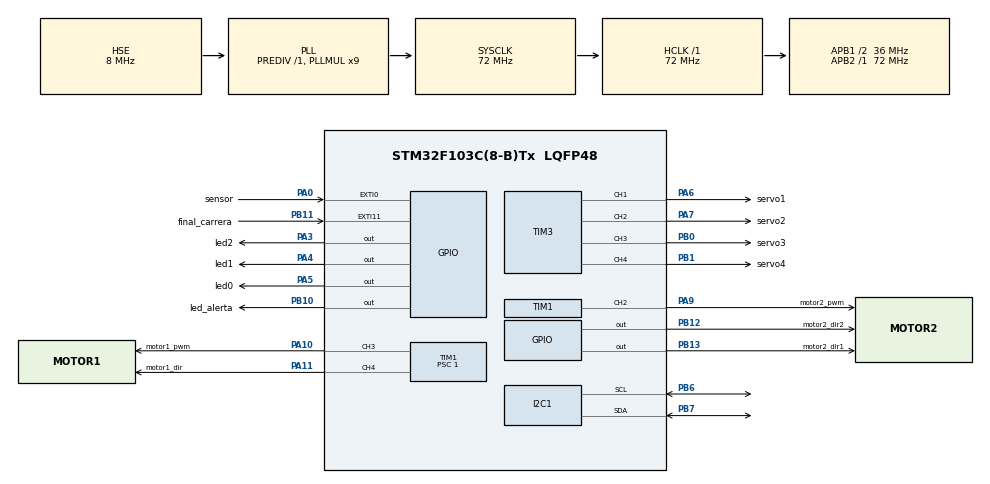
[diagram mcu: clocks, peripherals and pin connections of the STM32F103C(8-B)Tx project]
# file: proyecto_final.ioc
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Mcu.Family=STM32F1
Mcu.Name=STM32F103C(8-B)Tx
Mcu.Package=LQFP48
NVIC.EXTI0_IRQn=true\:0\:0\:true\:false\:true\:true\:true\:true
NVIC.EXTI15_10_IRQn=true\:0\:0\:false\:false\:true\:true\:true\:true
NVIC.PriorityGroup=NVIC_PRIORITYGROUP_4
NVIC.TIM2_IRQn=true\:0\:0\:false\:false\:true\:true\:true\:true
PA0-WKUP.GPIO_Label=sensor
PA0-WKUP.GPIO_ModeDefaultEXTI=GPIO_MODE_IT_RISING
PA0-WKUP.GPIO_PuPd=GPIO_PULLDOWN
PA0-WKUP.Signal=GPXTI0
PA10.GPIO_Label=motor1_pwm
PA10.Signal=S_TIM1_CH3
PA11.GPIO_Label=motor1_dir
PA11.Signal=S_TIM1_CH4
PA13.Mode=Serial_Wire
PA13.Signal=SYS_JTMS-SWDIO
PA14.Mode=Serial_Wire
PA14.Signal=SYS_JTCK-SWCLK
PA3.GPIO_Label=led2
PA3.Signal=GPIO_Output
PA4.GPIO_Label=led1
PA4.Signal=GPIO_Output
PA5.GPIO_Label=led0
PA5.Signal=GPIO_Output
PA6.GPIO_Label=servo1
PA6.Signal=S_TIM3_CH1
PA7.GPIO_Label=servo2
PA7.Signal=S_TIM3_CH2
PA9.GPIO_Label=motor2_pwm
PA9.Signal=S_TIM1_CH2
PB0.GPIO_Label=servo3
PB0.Signal=S_TIM3_CH3
PB1.GPIO_Label=servo4
PB1.Signal=S_TIM3_CH4
PB10.GPIO_Label=led_alerta
PB10.Signal=GPIO_Output
PB11.GPIO_Label=final_carrera
PB11.GPIO_ModeDefaultEXTI=GPIO_MODE_IT_RISING
PB11.GPIO_PuPd=GPIO_PULLDOWN
PB11.Signal=GPXTI11
PB12.GPIO_Label=motor2_dir2
PB12.Signal=GPIO_Output
PB13.GPIO_Label=motor2_dir1
PB13.Signal=GPIO_Output
PB6.Mode=I2C
PB6.Signal=I2C1_SCL
PB7.Mode=I2C
PB7.Signal=I2C1_SDA
PD0-OSC_IN.Mode=HSE-External-Oscillator
PD0-OSC_IN.Signal=RCC_OSC_IN
PD1-OSC_OUT.Mode=HSE-External-Oscillator
PD1-OSC_OUT.Signal=RCC_OSC_OUT
ProjectManager.HeapSize=0x200
ProjectManager.StackSize=0x400
ProjectManager.TargetToolchain=STM32CubeIDE
RCC.AHBFreq_Value=72000000
RCC.APB1CLKDivider=RCC_HCLK_DIV2
RCC.APB1Freq_Value=36000000
RCC.APB1TimFreq_Value=72000000
RCC.APB2Freq_Value=72000000
RCC.APB2TimFreq_Value=72000000
RCC.HCLKFreq_Value=72000000
RCC.PLLMUL=RCC_PLL_MUL9
RCC.PLLSourceVirtual=RCC_PLLSOURCE_HSE
RCC.SYSCLKFreq_VALUE=72000000
RCC.SYSCLKSource=RCC_SYSCLKSOURCE_PLLCLK
RCC.USBFreq_Value=72000000
SH.S_TIM1_CH2.0=TIM1_CH2,PWM Generation2 CH2
SH.S_TIM1_CH3.0=TIM1_CH3,PWM Generation3 CH3
SH.S_TIM1_CH4.0=TIM1_CH4,Output Compare4 CH4
SH.S_TIM3_CH1.0=TIM3_CH1,PWM Generation1 CH1
SH.S_TIM3_CH2.0=TIM3_CH2,PWM Generation2 CH2
SH.S_TIM3_CH3.0=TIM3_CH3,PWM Generation3 CH3
SH.S_TIM3_CH4.0=TIM3_CH4,PWM Generation4 CH4
TIM1.Channel-Output\ Compare4\ CH4=TIM_CHANNEL_4
TIM1.Channel-PWM\ Generation2\ CH2=TIM_CHANNEL_2
TIM1.Channel-PWM\ Generation3\ CH3=TIM_CHANNEL_3
TIM1.OCMode_4=TIM_OCMODE_FORCED_ACTIVE
TIM1.Period=4800
TIM1.Prescaler=1
TIM2.AutoReloadPreload=TIM_AUTORELOAD_PRELOAD_DISABLE
TIM2.Period=21600
TIM2.Prescaler=10000
TIM2.TIM_MasterOutputTrigger=TIM_TRGO_UPDATE
TIM3.Channel-PWM\ Generation1\ CH1=TIM_CHANNEL_1
TIM3.Channel-PWM\ Generation2\ CH2=TIM_CHANNEL_2
TIM3.Channel-PWM\ Generation3\ CH3=TIM_CHANNEL_3
TIM3.Channel-PWM\ Generation4\ CH4=TIM_CHANNEL_4
VP_TIM1_VS_ClockSourceINT.Mode=Internal
VP_TIM2_VS_ClockSourceINT.Mode=Internal
VP_TIM2_VS_OPM.Mode=OPM_bit
VP_TIM3_VS_ClockSourceINT.Mode=Internal
board=custom

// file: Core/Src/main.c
/* USER CODE BEGIN Header */
/**
 ******************************************************************************
 * @file           : main.c
 * @brief          : Main program body
 ******************************************************************************
 * @attention
 *
 * Copyright (c) 2023 STMicroelectronics.
 * All rights reserved.
 *
 * This software is licensed under terms that can be found in the LICENSE file
 * in the root directory of this software component.
 * If no LICENSE file comes with this software, it is provided AS-IS.
 *
 ******************************************************************************
 */
/* USER CODE END Header */
#include "main.h"

/* USER CODE BEGIN Includes */
#include "stdio.h"
#include "stdbool.h"
/* USER CODE END Includes */

I2C_HandleTypeDef hi2c1;

TIM_HandleTypeDef htim1;
TIM_HandleTypeDef htim2;
TIM_HandleTypeDef htim3;

void SystemClock_Config(void);
static void MX_GPIO_Init(void);
static void MX_TIM1_Init(void);
static void MX_TIM2_Init(void);
static void MX_TIM3_Init(void);
static void MX_I2C1_Init(void);

/* USER CODE BEGIN 0 */
int cant_cajas;

bool flag;

// Para dar un orden en las acciones, se declara un dato enum segun las etapas del proceso
// -> pendiente: sensor pendiente de una caja
// -> tempo: se esta llevando a cabo el proceso (actuando el temporizador)
// -> fin: el brazo robotico esta en posicion de homing

enum proceso {
	pendiente, tempo, fin
} estado;

const int vel_max = 4800;
const int vel_nominal = 4320;
const int vel_proceso = 3120;

/* USER CODE END 0 */

int main(void) {

	/* MCU Configuration--------------------------------------------------------*/

	/* Reset of all peripherals, Initializes the Flash interface and the Systick. */
	HAL_Init();

	/* Configure the system clock */
	SystemClock_Config();

	/* Initialize all configured peripherals */
	MX_GPIO_Init();
	MX_TIM1_Init();
	MX_TIM2_Init();
	MX_TIM3_Init();
	MX_I2C1_Init();
	/* USER CODE BEGIN 2 */
	// ======================== TIMER 1 ========================
	// Control del motor1 (iniciamos el timer pwm y damos salida a dir1)
	HAL_TIM_PWM_Start(&htim1, TIM_CHANNEL_3);
	HAL_TIM_OC_Start(&htim1, TIM_CHANNEL_4);

	// Velocidad inicial de motor1 (DC 90%) --> 100% = 4800
	TIM1->CCR3 = vel_nominal;

	// ======================== TIMER 2 ========================
	// Bajo el bit UIF del registro SR (status register), se setea por hardware e inicialmente esta en 1
	// lo que me levanta de primera el callback del period elapsed
	TIM2->SR &= ~TIM_SR_UIF_Msk;

	// // ===================== VARIABLES =======================
	cant_cajas = 0;
	flag = true;
	estado = pendiente;
	/* USER CODE END 2 */

	/* Infinite loop */
	/* USER CODE BEGIN WHILE */
	while (1) {
		if (cant_cajas == 0) {
			HAL_GPIO_WritePin(GPIOA, led1_Pin | led2_Pin, 0);
			HAL_GPIO_WritePin(GPIOA, led0_Pin, 1);
		} else if (cant_cajas == 1) {
			HAL_GPIO_WritePin(GPIOA, led0_Pin | led2_Pin, 0);
			HAL_GPIO_WritePin(GPIOA, led1_Pin, 1);
		} else if (cant_cajas == 2) {
			HAL_GPIO_WritePin(GPIOA, led0_Pin | led1_Pin, 0);
			HAL_GPIO_WritePin(GPIOA, led2_Pin, 1);
		}
		/* USER CODE END WHILE */

	}
}

void SystemClock_Config(void) {
	RCC_OscInitTypeDef RCC_OscInitStruct = { 0 };
	RCC_ClkInitTypeDef RCC_ClkInitStruct = { 0 };

	/** Initializes the RCC Oscillators according to the specified parameters
	 * in the RCC_OscInitTypeDef structure.
	 */
	RCC_OscInitStruct.OscillatorType = RCC_OSCILLATORTYPE_HSE;
	RCC_OscInitStruct.HSEState = RCC_HSE_ON;
	RCC_OscInitStruct.HSEPredivValue = RCC_HSE_PREDIV_DIV1;
	RCC_OscInitStruct.HSIState = RCC_HSI_ON;
	RCC_OscInitStruct.PLL.PLLState = RCC_PLL_ON;
	RCC_OscInitStruct.PLL.PLLSource = RCC_PLLSOURCE_HSE;
	RCC_OscInitStruct.PLL.PLLMUL = RCC_PLL_MUL9;
	if (HAL_RCC_OscConfig(&RCC_OscInitStruct) != HAL_OK) {
		Error_Handler();
	}

	/** Initializes the CPU, AHB and APB buses clocks
	 */
	RCC_ClkInitStruct.ClockType = RCC_CLOCKTYPE_HCLK | RCC_CLOCKTYPE_SYSCLK
			| RCC_CLOCKTYPE_PCLK1 | RCC_CLOCKTYPE_PCLK2;
	RCC_ClkInitStruct.SYSCLKSource = RCC_SYSCLKSOURCE_PLLCLK;
	RCC_ClkInitStruct.AHBCLKDivider = RCC_SYSCLK_DIV1;
	RCC_ClkInitStruct.APB1CLKDivider = RCC_HCLK_DIV2;
	RCC_ClkInitStruct.APB2CLKDivider = RCC_HCLK_DIV1;

	if (HAL_RCC_ClockConfig(&RCC_ClkInitStruct, FLASH_LATENCY_2) != HAL_OK) {
		Error_Handler();
	}
}

static void MX_I2C1_Init(void) {

	hi2c1.Instance = I2C1;
	hi2c1.Init.ClockSpeed = 100000;
	hi2c1.Init.DutyCycle = I2C_DUTYCYCLE_2;
	hi2c1.Init.OwnAddress1 = 0;
	hi2c1.Init.AddressingMode = I2C_ADDRESSINGMODE_7BIT;
	hi2c1.Init.DualAddressMode = I2C_DUALADDRESS_DISABLE;
	hi2c1.Init.OwnAddress2 = 0;
	hi2c1.Init.GeneralCallMode = I2C_GENERALCALL_DISABLE;
	hi2c1.Init.NoStretchMode = I2C_NOSTRETCH_DISABLE;
	if (HAL_I2C_Init(&hi2c1) != HAL_OK) {
		Error_Handler();
	}

}

static void MX_TIM1_Init(void) {

	TIM_ClockConfigTypeDef sClockSourceConfig = { 0 };
	TIM_MasterConfigTypeDef sMasterConfig = { 0 };
	TIM_OC_InitTypeDef sConfigOC = { 0 };
	TIM_BreakDeadTimeConfigTypeDef sBreakDeadTimeConfig = { 0 };

	htim1.Instance = TIM1;
	htim1.Init.Prescaler = 1;
	htim1.Init.CounterMode = TIM_COUNTERMODE_UP;
	htim1.Init.Period = 4800;
	htim1.Init.ClockDivision = TIM_CLOCKDIVISION_DIV1;
	htim1.Init.RepetitionCounter = 0;
	htim1.Init.AutoReloadPreload = TIM_AUTORELOAD_PRELOAD_DISABLE;
	if (HAL_TIM_Base_Init(&htim1) != HAL_OK) {
		Error_Handler();
	}
	sClockSourceConfig.ClockSource = TIM_CLOCKSOURCE_INTERNAL;
	if (HAL_TIM_ConfigClockSource(&htim1, &sClockSourceConfig) != HAL_OK) {
		Error_Handler();
	}
	if (HAL_TIM_PWM_Init(&htim1) != HAL_OK) {
		Error_Handler();
	}
	if (HAL_TIM_OC_Init(&htim1) != HAL_OK) {
		Error_Handler();
	}
	sMasterConfig.MasterOutputTrigger = TIM_TRGO_RESET;
	sMasterConfig.MasterSlaveMode = TIM_MASTERSLAVEMODE_DISABLE;
	if (HAL_TIMEx_MasterConfigSynchronization(&htim1, &sMasterConfig)
			!= HAL_OK) {
		Error_Handler();
	}
	sConfigOC.OCMode = TIM_OCMODE_PWM1;
	sConfigOC.Pulse = 0;
	sConfigOC.OCPolarity = TIM_OCPOLARITY_HIGH;
	sConfigOC.OCNPolarity = TIM_OCNPOLARITY_HIGH;
	sConfigOC.OCFastMode = TIM_OCFAST_DISABLE;
	sConfigOC.OCIdleState = TIM_OCIDLESTATE_RESET;
	sConfigOC.OCNIdleState = TIM_OCNIDLESTATE_RESET;
	if (HAL_TIM_PWM_ConfigChannel(&htim1, &sConfigOC, TIM_CHANNEL_2)
			!= HAL_OK) {
		Error_Handler();
	}
	if (HAL_TIM_PWM_ConfigChannel(&htim1, &sConfigOC, TIM_CHANNEL_3)
			!= HAL_OK) {
		Error_Handler();
	}
	sConfigOC.OCMode = TIM_OCMODE_FORCED_ACTIVE;
	if (HAL_TIM_OC_ConfigChannel(&htim1, &sConfigOC, TIM_CHANNEL_4) != HAL_OK) {
		Error_Handler();
	}
	sBreakDeadTimeConfig.OffStateRunMode = TIM_OSSR_DISABLE;
	sBreakDeadTimeConfig.OffStateIDLEMode = TIM_OSSI_DISABLE;
	sBreakDeadTimeConfig.LockLevel = TIM_LOCKLEVEL_OFF;
	sBreakDeadTimeConfig.DeadTime = 0;
	sBreakDeadTimeConfig.BreakState = TIM_BREAK_DISABLE;
	sBreakDeadTimeConfig.BreakPolarity = TIM_BREAKPOLARITY_HIGH;
	sBreakDeadTimeConfig.AutomaticOutput = TIM_AUTOMATICOUTPUT_DISABLE;
	if (HAL_TIMEx_ConfigBreakDeadTime(&htim1, &sBreakDeadTimeConfig)
			!= HAL_OK) {
		Error_Handler();
	}
	HAL_TIM_MspPostInit(&htim1);

}

static void MX_TIM2_Init(void) {

	TIM_ClockConfigTypeDef sClockSourceConfig = { 0 };
	TIM_MasterConfigTypeDef sMasterConfig = { 0 };

	htim2.Instance = TIM2;
	htim2.Init.Prescaler = 10000;
	htim2.Init.CounterMode = TIM_COUNTERMODE_UP;
	htim2.Init.Period = 21600;
	htim2.Init.ClockDivision = TIM_CLOCKDIVISION_DIV1;
	htim2.Init.AutoReloadPreload = TIM_AUTORELOAD_PRELOAD_DISABLE;
	if (HAL_TIM_Base_Init(&htim2) != HAL_OK) {
		Error_Handler();
	}
	sClockSourceConfig.ClockSource = TIM_CLOCKSOURCE_INTERNAL;
	if (HAL_TIM_ConfigClockSource(&htim2, &sClockSourceConfig) != HAL_OK) {
		Error_Handler();
	}
	if (HAL_TIM_OnePulse_Init(&htim2, TIM_OPMODE_SINGLE) != HAL_OK) {
		Error_Handler();
	}
	sMasterConfig.MasterOutputTrigger = TIM_TRGO_UPDATE;
	sMasterConfig.MasterSlaveMode = TIM_MASTERSLAVEMODE_DISABLE;
	if (HAL_TIMEx_MasterConfigSynchronization(&htim2, &sMasterConfig)
			!= HAL_OK) {
		Error_Handler();
	}

}

static void MX_TIM3_Init(void) {

	TIM_ClockConfigTypeDef sClockSourceConfig = { 0 };
	TIM_MasterConfigTypeDef sMasterConfig = { 0 };
	TIM_OC_InitTypeDef sConfigOC = { 0 };

	htim3.Instance = TIM3;
	htim3.Init.Prescaler = 0;
	htim3.Init.CounterMode = TIM_COUNTERMODE_UP;
	htim3.Init.Period = 65535;
	htim3.Init.ClockDivision = TIM_CLOCKDIVISION_DIV1;
	htim3.Init.AutoReloadPreload = TIM_AUTORELOAD_PRELOAD_DISABLE;
	if (HAL_TIM_Base_Init(&htim3) != HAL_OK) {
		Error_Handler();
	}
	sClockSourceConfig.ClockSource = TIM_CLOCKSOURCE_INTERNAL;
	if (HAL_TIM_ConfigClockSource(&htim3, &sClockSourceConfig) != HAL_OK) {
		Error_Handler();
	}
	if (HAL_TIM_PWM_Init(&htim3) != HAL_OK) {
		Error_Handler();
	}
	sMasterConfig.MasterOutputTrigger = TIM_TRGO_RESET;
	sMasterConfig.MasterSlaveMode = TIM_MASTERSLAVEMODE_DISABLE;
	if (HAL_TIMEx_MasterConfigSynchronization(&htim3, &sMasterConfig)
			!= HAL_OK) {
		Error_Handler();
	}
	sConfigOC.OCMode = TIM_OCMODE_PWM1;
	sConfigOC.Pulse = 0;
	sConfigOC.OCPolarity = TIM_OCPOLARITY_HIGH;
	sConfigOC.OCFastMode = TIM_OCFAST_DISABLE;
	if (HAL_TIM_PWM_ConfigChannel(&htim3, &sConfigOC, TIM_CHANNEL_1)
			!= HAL_OK) {
		Error_Handler();
	}
	if (HAL_TIM_PWM_ConfigChannel(&htim3, &sConfigOC, TIM_CHANNEL_2)
			!= HAL_OK) {
		Error_Handler();
	}
	if (HAL_TIM_PWM_ConfigChannel(&htim3, &sConfigOC, TIM_CHANNEL_3)
			!= HAL_OK) {
		Error_Handler();
	}
	if (HAL_TIM_PWM_ConfigChannel(&htim3, &sConfigOC, TIM_CHANNEL_4)
			!= HAL_OK) {
		Error_Handler();
	}
	HAL_TIM_MspPostInit(&htim3);

}

static void MX_GPIO_Init(void) {
	GPIO_InitTypeDef GPIO_InitStruct = { 0 };

	/* GPIO Ports Clock Enable */
	__HAL_RCC_GPIOD_CLK_ENABLE();
	__HAL_RCC_GPIOA_CLK_ENABLE();
	__HAL_RCC_GPIOB_CLK_ENABLE();

	/*Configure GPIO pin Output Level */
	HAL_GPIO_WritePin(GPIOA, led2_Pin | led1_Pin | led0_Pin, GPIO_PIN_RESET);

	/*Configure GPIO pin Output Level */
	HAL_GPIO_WritePin(GPIOB, led_alerta_Pin | motor2_dir2_Pin | motor2_dir1_Pin,
			GPIO_PIN_RESET);

	/*Configure GPIO pin : sensor_Pin */
	GPIO_InitStruct.Pin = sensor_Pin;
	GPIO_InitStruct.Mode = GPIO_MODE_IT_RISING;
	GPIO_InitStruct.Pull = GPIO_PULLDOWN;
	HAL_GPIO_Init(sensor_GPIO_Port, &GPIO_InitStruct);

	/*Configure GPIO pins : led2_Pin led1_Pin led0_Pin */
	GPIO_InitStruct.Pin = led2_Pin | led1_Pin | led0_Pin;
	GPIO_InitStruct.Mode = GPIO_MODE_OUTPUT_PP;
	GPIO_InitStruct.Pull = GPIO_NOPULL;
	GPIO_InitStruct.Speed = GPIO_SPEED_FREQ_LOW;
	HAL_GPIO_Init(GPIOA, &GPIO_InitStruct);

	/*Configure GPIO pins : led_alerta_Pin motor2_dir2_Pin motor2_dir1_Pin */
	GPIO_InitStruct.Pin = led_alerta_Pin | motor2_dir2_Pin | motor2_dir1_Pin;
	GPIO_InitStruct.Mode = GPIO_MODE_OUTPUT_PP;
	GPIO_InitStruct.Pull = GPIO_NOPULL;
	GPIO_InitStruct.Speed = GPIO_SPEED_FREQ_LOW;
	HAL_GPIO_Init(GPIOB, &GPIO_InitStruct);

	/*Configure GPIO pin : final_carrera_Pin */
	GPIO_InitStruct.Pin = final_carrera_Pin;
	GPIO_InitStruct.Mode = GPIO_MODE_IT_RISING;
	GPIO_InitStruct.Pull = GPIO_PULLDOWN;
	HAL_GPIO_Init(final_carrera_GPIO_Port, &GPIO_InitStruct);

	/* EXTI interrupt init*/
	HAL_NVIC_SetPriority(EXTI0_IRQn, 0, 0);
	HAL_NVIC_EnableIRQ(EXTI0_IRQn);

	HAL_NVIC_SetPriority(EXTI15_10_IRQn, 0, 0);
	HAL_NVIC_EnableIRQ(EXTI15_10_IRQn);

}

/* USER CODE BEGIN 4 */

// =================== EXTERNAL INTERRUPT EXTI ===================
void HAL_GPIO_EXTI_Callback(uint16_t GPIO_Pin) {
	UNUSED(GPIO_Pin);

	// SENSOR DE CAJA (inicia el proceso)
	if (GPIO_Pin == sensor_Pin) {
		// En caso de estar libre (estado pendiente) se lleva a cabo la tarea
		// Si ya se esta trabajando en otra caja (estado != pendiente y cant_cajas !=0) entonces
		// solo se sumara una caja a la cola y se para el motor1

		if (cant_cajas == 1 && estado != pendiente) {
			HAL_TIM_OC_Stop(&htim1, TIM_CHANNEL_4);
			cant_cajas = 2;
		}

		if (estado == pendiente) {
			HAL_TIM_OC_Start(&htim1, TIM_CHANNEL_4);
			HAL_GPIO_WritePin(led_alerta_GPIO_Port, led_alerta_Pin, 1);

			// Activo el motor_2 (en dir1)
			HAL_TIM_PWM_Start(&htim1, TIM_CHANNEL_2);
			HAL_GPIO_WritePin(motor2_dir1_GPIO_Port, motor2_dir1_Pin, 1);

			// Pongo motor_1 y motor_2 a la misma velocidad (DC% 65%)
			TIM1->CCR2 = vel_proceso;
			TIM1->CCR3 = vel_proceso;

			// Inicio el tempo del proceso
			HAL_TIM_Base_Start_IT(&htim2);

			// Cambio el estado del proceso a tempo (temporizador) y aumento la cantidad de cajas en cola
			estado = tempo;
			cant_cajas = 1;
		}

	}

	// FINAL DE CARRERA (posicion de homing)
	if (GPIO_Pin == final_carrera_Pin && estado == fin) {

		// Al llegar a homing se para el motor2
		HAL_GPIO_WritePin(motor2_dir2_GPIO_Port, motor2_dir2_Pin, 0);
		HAL_TIM_PWM_Stop(&htim1, TIM_CHANNEL_2);

		// Cambio el estado del proceso a pendiente del sensor y restamos una caja de la cola de cajas
		estado = pendiente;
		cant_cajas--;

		// Si hay una caja en cola al llegar a homing, entonces se repite el proceso
		if (cant_cajas == 1) {
			HAL_GPIO_EXTI_Callback(sensor_Pin);
		}

	}
}

// ==================== FIN DEL PROCESO (del tempo) ====================
void HAL_TIM_PeriodElapsedCallback(TIM_HandleTypeDef *htim) {
	UNUSED(htim);

	if (htim == &htim2 && (TIM2->CR1 & ~(TIM_CR1_CEN_Msk))) {
		// Ademas de verificar que el evento se dispare por TIM2, se verifica que el contador este
		// deshabilitado, ya que se dispara tambien al llamar a HAL_TIM_Base_Start(&htim2)

		HAL_GPIO_WritePin(led_alerta_GPIO_Port, led_alerta_Pin, 0);

		// Cambio la direccion de motor_2 (dir1 a dir2)
		HAL_GPIO_WritePin(motor2_dir1_GPIO_Port, motor2_dir1_Pin, 0);
		HAL_GPIO_WritePin(motor2_dir2_GPIO_Port, motor2_dir2_Pin, 1);

		// Llevo la velocidad de motor_2 al maximo
		TIM1->CCR3 = vel_max;

		// motor1 retoma la velocidad inicial (DC 90%)
		TIM1->CCR2 = vel_nominal;

		// Cambio el estado del proceso a fin del tempo e inhabilito el TIM2
		estado = fin;
		HAL_TIM_Base_Stop_IT(&htim2);
	}

}

/* USER CODE END 4 */

void Error_Handler(void) {
	__disable_irq();
	while (1) {
	}
}
